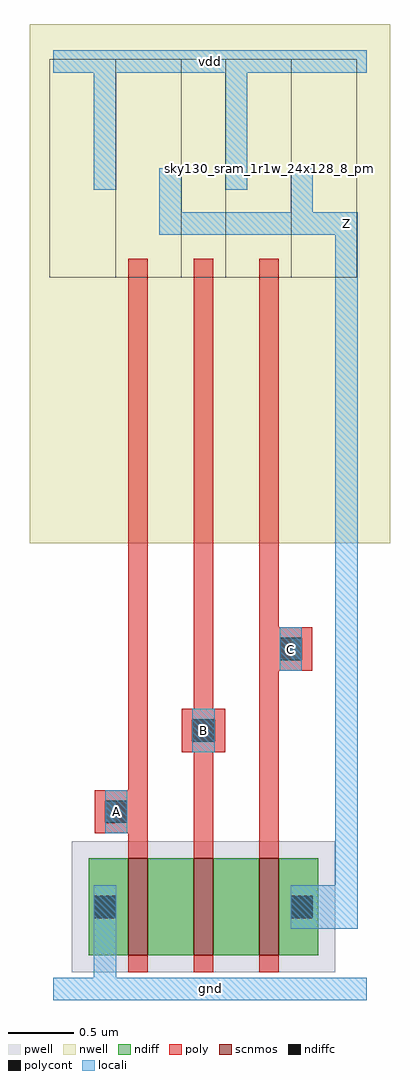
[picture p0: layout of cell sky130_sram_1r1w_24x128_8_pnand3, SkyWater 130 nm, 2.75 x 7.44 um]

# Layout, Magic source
magic
tech sky130B
magscale 1 2
<< nwell >>
rect -36 679 514 1471
<< poly >>
rect 114 303 144 1113
rect 96 237 144 303
rect 114 225 144 237
rect 214 225 244 1113
rect 314 551 344 1113
rect 314 485 362 551
rect 314 225 344 485
<< locali >>
rect 0 1397 478 1431
rect 62 1218 96 1397
rect 162 1184 196 1251
rect 262 1218 296 1397
rect 362 1184 396 1251
rect 162 1150 464 1184
rect 345 485 379 551
rect 212 361 246 427
rect 79 237 113 303
rect 430 158 464 1150
rect 379 92 464 158
rect 62 17 96 92
rect 0 -17 478 17
use sky130_sram_1r1w_24x128_8_contact_15  sky130_sram_1r1w_24x128_8_contact_15_0
transform 1 0 329 0 1 485
box 0 0 66 66
use sky130_sram_1r1w_24x128_8_contact_15  sky130_sram_1r1w_24x128_8_contact_15_1
transform 1 0 196 0 1 361
box 0 0 66 66
use sky130_sram_1r1w_24x128_8_contact_15  sky130_sram_1r1w_24x128_8_contact_15_2
transform 1 0 63 0 1 237
box 0 0 66 66
use sky130_sram_1r1w_24x128_8_nmos_m1_w0_740_sactive_dactive  sky130_sram_1r1w_24x128_8_nmos_m1_w0_740_sactive_dactive_0
transform 1 0 154 0 1 51
box -26 -26 176 174
use sky130_sram_1r1w_24x128_8_nmos_m1_w0_740_sactive_dli  sky130_sram_1r1w_24x128_8_nmos_m1_w0_740_sactive_dli_0
transform 1 0 254 0 1 51
box -26 -26 176 174
use sky130_sram_1r1w_24x128_8_nmos_m1_w0_740_sli_dactive  sky130_sram_1r1w_24x128_8_nmos_m1_w0_740_sli_dactive_0
transform 1 0 54 0 1 51
box -26 -26 176 174
use sky130_sram_1r1w_24x128_8_pmos_m1_w1_120_sli_dli  sky130_sram_1r1w_24x128_8_pmos_m1_w1_120_sli_dli_0
transform 1 0 254 0 1 1139
box -59 -54 209 278
use sky130_sram_1r1w_24x128_8_pmos_m1_w1_120_sli_dli  sky130_sram_1r1w_24x128_8_pmos_m1_w1_120_sli_dli_1
transform 1 0 154 0 1 1139
box -59 -54 209 278
use sky130_sram_1r1w_24x128_8_pmos_m1_w1_120_sli_dli  sky130_sram_1r1w_24x128_8_pmos_m1_w1_120_sli_dli_2
transform 1 0 54 0 1 1139
box -59 -54 209 278
<< labels >>
rlabel locali s 96 270 96 270 4 A
port 1 nsew
rlabel locali s 229 394 229 394 4 B
port 2 nsew
rlabel locali s 362 518 362 518 4 C
port 3 nsew
rlabel locali s 447 1167 447 1167 4 Z
port 4 nsew
rlabel locali s 239 0 239 0 4 gnd
port 5 nsew
rlabel locali s 239 1414 239 1414 4 vdd
port 6 nsew
<< properties >>
string FIXED_BBOX 0 0 478 1414
<< end >>

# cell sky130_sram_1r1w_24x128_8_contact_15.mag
magic
tech sky130B
<< poly >>
rect 0 25 33 33
rect 0 8 8 25
rect 25 8 33 25
rect 0 0 33 8
<< polycont >>
rect 8 8 25 25
<< locali >>
rect 8 25 25 33
rect 8 0 25 8
<< properties >>
string FIXED_BBOX -10 -10 43 43
<< end >>

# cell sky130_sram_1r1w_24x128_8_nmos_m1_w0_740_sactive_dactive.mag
magic
tech sky130B
magscale 1 2
<< pwell >>
rect -26 -26 176 174
<< scnmos >>
rect 60 0 90 148
<< ndiff >>
rect 0 0 60 148
rect 90 0 150 148
<< poly >>
rect 60 148 90 174
rect 60 -26 90 0
<< labels >>
rlabel poly s 75 74 75 74 4 G
port 1 nsew
rlabel mvpsubdiff s 25 74 25 74 4 S
rlabel mvpsubdiff s 125 74 125 74 4 D
<< properties >>
string FIXED_BBOX -25 -26 175 174
<< end >>

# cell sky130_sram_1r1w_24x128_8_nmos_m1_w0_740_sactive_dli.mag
magic
tech sky130B
magscale 1 2
<< pwell >>
rect -26 -26 176 174
<< scnmos >>
rect 60 0 90 148
<< ndiff >>
rect 0 0 60 148
rect 90 0 150 148
<< poly >>
rect 60 148 90 174
rect 60 -26 90 0
<< locali >>
rect 108 41 142 107
use sky130_sram_1r1w_24x128_8_contact_10  sky130_sram_1r1w_24x128_8_contact_10_0
transform 1 0 100 0 1 41
box -26 -22 76 88
<< labels >>
rlabel poly s 75 74 75 74 4 G
port 1 nsew
rlabel mvpsubdiff s 25 74 25 74 4 S
rlabel locali s 125 74 125 74 4 D
port 2 nsew
<< properties >>
string FIXED_BBOX -25 -26 175 174
<< end >>

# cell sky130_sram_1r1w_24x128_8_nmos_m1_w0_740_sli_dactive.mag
magic
tech sky130B
magscale 1 2
<< pwell >>
rect -26 -26 176 174
<< scnmos >>
rect 60 0 90 148
<< ndiff >>
rect 0 0 60 148
rect 90 0 150 148
<< poly >>
rect 60 148 90 174
rect 60 -26 90 0
<< locali >>
rect 8 41 42 107
use sky130_sram_1r1w_24x128_8_contact_10  sky130_sram_1r1w_24x128_8_contact_10_0
transform 1 0 0 0 1 41
box -26 -22 76 88
<< labels >>
rlabel poly s 75 74 75 74 4 G
port 1 nsew
rlabel locali s 25 74 25 74 4 S
port 2 nsew
rlabel mvpsubdiff s 125 74 125 74 4 D
<< properties >>
string FIXED_BBOX -25 -26 175 174
<< end >>

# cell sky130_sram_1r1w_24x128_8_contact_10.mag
magic
tech sky130B
<< pwell >>
rect -13 -11 38 44
<< ndiff >>
rect 0 25 25 31
rect 0 8 4 25
rect 21 8 25 25
rect 0 2 25 8
<< ndiffc >>
rect 4 8 21 25
<< locali >>
rect 4 25 21 33
rect 4 0 21 8
<< properties >>
string FIXED_BBOX -12 -10 37 43
<< end >>
